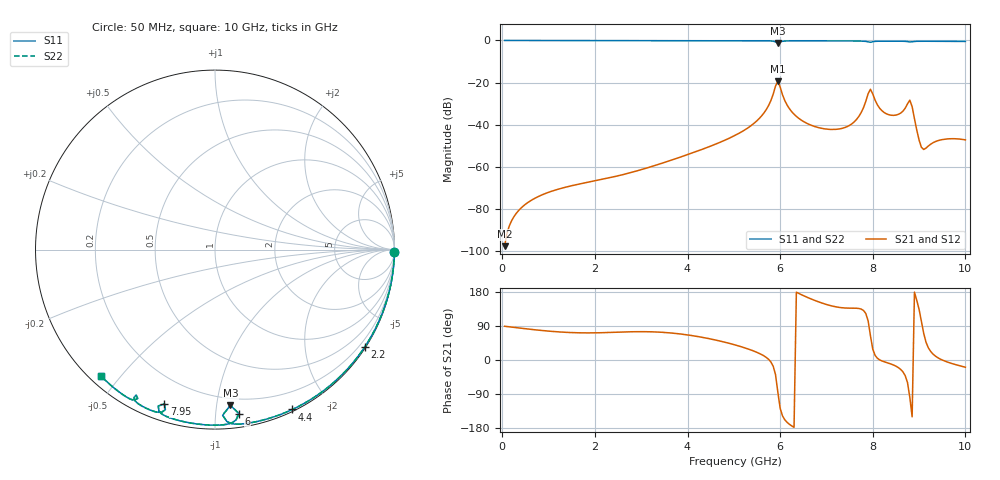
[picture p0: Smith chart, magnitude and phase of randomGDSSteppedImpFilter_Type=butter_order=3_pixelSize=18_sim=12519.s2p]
! freq	dB(S11)	phase(S11)	dB(S12)	phase(S12)
!  dB(S21)	phase(S21)	dB(S22)	phase(S22)
!S-par simulation data
#  GHz  S  DB  R 50
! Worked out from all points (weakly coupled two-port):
!   200 points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, 50 MHz to 10 GHz, reference 50 ohm
!   highest |S21| = -19.29 dB at 5.95 GHz (marker M1); lowest = -97.6 dB at 50 MHz (marker M2)
!   lowest |S11| = -1.2 dB at 5.95 GHz (marker M3), VSWR 14.59, Z = 7.56 - j54.6 ohm
!   |S11| at or under -10 dB: nowhere
!   |S22| runs from -1.2 to 0.0 dB; largest |S21 - S12| = 0
!   S11 on the Smith chart (normalised r, x): 50 MHz: open; 2.2 GHz: 0.03, -3.37; 4.4 GHz: 0.02, -1.59; 6 GHz: 0.09, -1.15; 7.95 GHz: 0.08, -0.72; 10 GHz: 0.03, -0.44
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0.05  -0.00 -0.8  -97.57 89.0  -97.57 89.0  -0.00 -0.8
1.75  -0.03 -26.4  -67.70 71.6  -67.70 71.6  -0.03 -26.4
2.2  -0.04 -33.0  -65.67 72.2  -65.67 72.2  -0.04 -33.0
3.4  -0.07 -50.3  -58.58 73.5  -58.58 73.5  -0.07 -50.3
4.4  -0.09 -64.2  -50.95 57.9  -50.95 57.9  -0.09 -64.2
5.05  -0.11 -73.0  -44.76 39.0  -44.76 39.0  -0.11 -73.0
5.65  -0.15 -81.6  -34.40 10.9  -34.40 10.9  -0.15 -81.7
5.95  -1.19 -84.3  -19.29 -84.7  -19.29 -84.7  -1.20 -84.3
6  -0.70 -81.7  -22.09 -127.3  -22.09 -127.3  -0.70 -81.7
6.25  -0.20 -87.0  -33.79 -173.9  -33.79 -173.9  -0.20 -87.0
6.7  -0.20 -93.3  -40.46 159.5  -40.46 159.5  -0.20 -93.3
7.5  -0.25 -103.6  -40.25 136.8  -40.25 136.8  -0.25 -103.6
7.75  -0.31 -107.3  -34.18 134.3  -34.18 134.3  -0.31 -107.3
7.95  -0.87 -108.2  -23.17 63.9  -23.17 63.9  -0.88 -108.2
8.15  -0.33 -109.9  -32.18 0.3  -32.18 0.3  -0.34 -109.9
8.35  -0.32 -112.9  -35.25 -8.8  -35.25 -8.8  -0.32 -112.9
8.6  -0.36 -116.4  -34.49 -24.5  -34.49 -24.5  -0.36 -116.3
8.8  -0.71 -118.5  -28.35 -98.7  -28.35 -98.7  -0.70 -118.5
9  -0.38 -119.8  -47.23 133.7  -47.23 133.7  -0.38 -119.9
9.1  -0.37 -121.3  -51.71 70.3  -51.71 70.3  -0.37 -121.3
9.45  -0.40 -125.7  -47.26 2.9  -47.26 2.9  -0.40 -125.7
10  -0.47 -132.2  -47.17 -19.1  -47.17 -19.1  -0.47 -132.2
